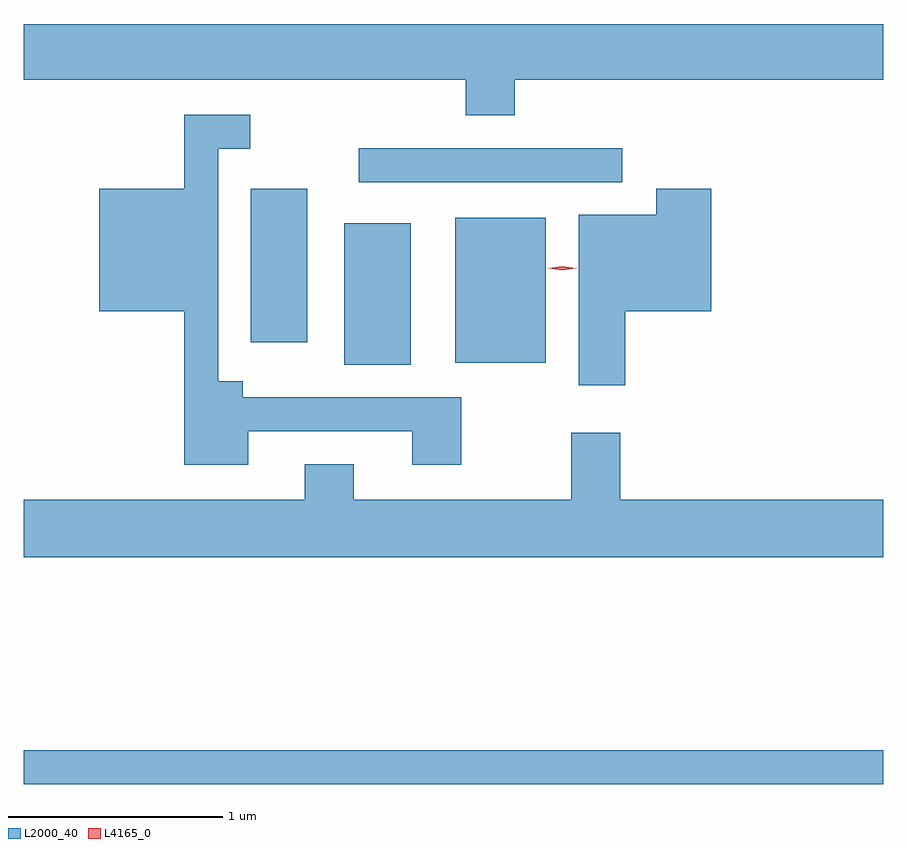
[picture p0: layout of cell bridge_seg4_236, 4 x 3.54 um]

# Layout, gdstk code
import gdstk
lib = gdstk.Library(unit=1e-6, precision=1e-09)
def R(c, l, rs):  # rectangles x0, y0, x1, y1
    for r in rs: c.add(gdstk.rectangle(r[:2], r[2:], *l))
def P(c, l, *ps):  # polygons
    for p in ps: c.add(gdstk.Polygon(p, *l))
L2000_40 = (2000, 40)
L4165_0 = (4165, 0)

bridge_seg4_236 = lib.new_cell('bridge_seg4_236')
R(bridge_seg4_236, L2000_40, [(586.764,1340.301,590.764,1340.459), (588.256,1342.251,588.564,1342.909), (588.771,1342.261,589.194,1342.934), (587.821,1342.356,588.084,1343.069), (588.323,1343.101,589.548,1343.259)])
P(bridge_seg4_236, L2000_40, [(589.049,1343.576),(590.764,1343.576),(590.764,1343.836),(586.764,1343.836),(586.764,1343.576),(588.821,1343.576),(588.821,1343.411),(589.049,1343.411)],
  [(587.809,1341.941),(588.571,1341.941),(588.571,1341.786),(588.799,1341.786),(588.799,1342.099),(587.784,1342.099),(587.784,1342.174),(587.669,1342.174),(587.669,1343.256),(587.818,1343.256),(587.818,1343.414),(587.511,1343.414),(587.511,1343.069),(587.116,1343.069),(587.116,1342.501),(587.511,1342.501),(587.511,1341.786),(587.809,1341.786)],
  [(589.564,1342.501),(589.964,1342.501),(589.964,1343.069),(589.706,1343.069),(589.706,1342.949),(589.346,1342.949),(589.346,1342.156),(589.564,1342.156)],
  [(590.764,1341.624),(589.539,1341.624),(589.539,1341.934),(589.311,1341.934),(589.311,1341.624),(588.299,1341.624),(588.299,1341.789),(588.071,1341.789),(588.071,1341.624),(586.764,1341.624),(586.764,1341.356),(590.764,1341.356)])
P(bridge_seg4_236, L4165_0, [(589.27,1342.69),(589.204,1342.7),(589.203,1342.7),(589.204,1342.701),(589.27,1342.71),(589.336,1342.701),(589.337,1342.7),(589.336,1342.7)])

lib.write_gds('bridge_seg4_236.gds')
